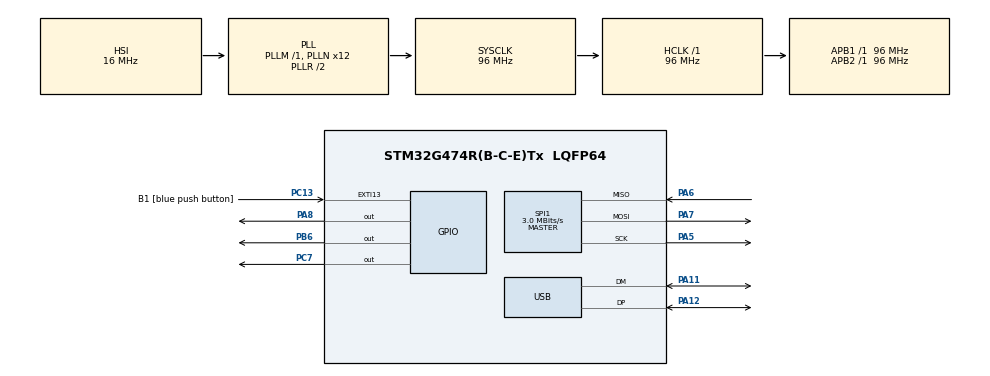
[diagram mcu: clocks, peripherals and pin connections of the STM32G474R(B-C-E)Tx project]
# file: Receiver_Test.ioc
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Mcu.Family=STM32G4
Mcu.Name=STM32G474R(B-C-E)Tx
Mcu.Package=LQFP64
NVIC.EXTI15_10_IRQn=true\:0\:0\:false\:false\:true\:true\:true\:true
NVIC.PriorityGroup=NVIC_PRIORITYGROUP_4
NVIC.TIM2_IRQn=true\:0\:0\:false\:false\:true\:true\:true\:true
NVIC.USB_LP_IRQn=true\:0\:0\:false\:false\:true\:false\:true\:true
PA11.Mode=Device
PA11.Signal=USB_DM
PA12.Mode=Device
PA12.Signal=USB_DP
PA13.GPIO_Label=T_SWDIO
PA13.Mode=Serial_Wire
PA13.Signal=SYS_JTMS-SWDIO
PA14.GPIO_Label=T_SWCLK
PA14.Mode=Serial_Wire
PA14.Signal=SYS_JTCK-SWCLK
PA2.GPIO_Label=LPUART1_TX [STLINKV3E_VCP_RX]
PA2.Signal=LPUART1_TX
PA3.GPIO_Label=LPUART1_RX [STLINKV3E_VCP_TX]
PA3.Signal=LPUART1_RX
PA5.Mode=Full_Duplex_Master
PA5.Signal=SPI1_SCK
PA6.Mode=Full_Duplex_Master
PA6.Signal=SPI1_MISO
PA7.Mode=Full_Duplex_Master
PA7.Signal=SPI1_MOSI
PA8.Signal=GPIO_Output
PB3.GPIO_Label=T_SWO
PB3.Signal=SYS_JTDO-SWO
PB6.Signal=GPIO_Output
PC13.GPIO_Label=B1 [blue push button]
PC13.Signal=GPXTI13
PC14-OSC32_IN.Mode=LSE-External-Oscillator
PC14-OSC32_IN.Signal=RCC_OSC32_IN
PC15-OSC32_OUT.Mode=LSE-External-Oscillator
PC15-OSC32_OUT.Signal=RCC_OSC32_OUT
PC7.Signal=GPIO_Output
PF0-OSC_IN.Mode=HSE-External-Oscillator
PF0-OSC_IN.Signal=RCC_OSC_IN
PF1-OSC_OUT.Mode=HSE-External-Oscillator
PF1-OSC_OUT.Signal=RCC_OSC_OUT
ProjectManager.HeapSize=0x200
ProjectManager.StackSize=0x400
ProjectManager.TargetToolchain=STM32CubeIDE
RCC.ADC12Freq_Value=96000000
RCC.ADC345Freq_Value=96000000
RCC.AHBFreq_Value=96000000
RCC.APB1Freq_Value=96000000
RCC.APB1TimFreq_Value=96000000
RCC.APB2Freq_Value=96000000
RCC.APB2TimFreq_Value=96000000
RCC.CortexFreq_Value=96000000
RCC.EXTERNAL_CLOCK_VALUE=12288000
RCC.HCLKFreq_Value=96000000
RCC.HSE_VALUE=24000000
RCC.HSI48_VALUE=48000000
RCC.HSI_VALUE=16000000
RCC.PLLN=12
RCC.PLLQ=RCC_PLLQ_DIV4
RCC.RTCClockSelection=RCC_RTCCLKSOURCE_LSE
RCC.SYSCLKFreq_VALUE=96000000
RCC.SYSCLKSource=RCC_SYSCLKSOURCE_PLLCLK
RCC.USBFreq_Value=48000000
RCC.VCOOutputFreq_Value=192000000
SPI1.BaudRatePrescaler=SPI_BAUDRATEPRESCALER_32
SPI1.CalculateBaudRate=3.0 MBits/s
SPI1.DataSize=SPI_DATASIZE_8BIT
SPI1.Direction=SPI_DIRECTION_2LINES
SPI1.Mode=SPI_MODE_MASTER
SPI1.VirtualType=VM_MASTER
TIM2.AutoReloadPreload=TIM_AUTORELOAD_PRELOAD_ENABLE
TIM2.PeriodNoDither=10000
TIM2.Prescaler=170
USB_DEVICE.CLASS_NAME_FS=CDC
USB_DEVICE.USBD_DEBUG_LEVEL=0
USB_DEVICE.USBD_LPM_ENABLED=0
USB_DEVICE.VirtualMode=Cdc
USB_DEVICE.VirtualModeFS=Cdc_FS
VP_SYS_VS_DBSignals.Mode=DisableDeadBatterySignals
VP_TIM2_VS_ClockSourceINT.Mode=Internal
VP_USB_DEVICE_VS_USB_DEVICE_CDC_FS.Mode=CDC_FS
board=NUCLEO-G474RE

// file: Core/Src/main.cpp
/* USER CODE BEGIN Header */
/**
  ******************************************************************************
  * @file           : main.c
  * @brief          : Main program body
  ******************************************************************************
  * @attention
  *
  * Copyright (c) 2022 STMicroelectronics.
  * All rights reserved.
  *
  * This software is licensed under terms that can be found in the LICENSE file
  * in the root directory of this software component.
  * If no LICENSE file comes with this software, it is provided AS-IS.
  *
  ******************************************************************************
  */
/* USER CODE END Header */
#include "main.h"
#include "usb_device.h"

/* USER CODE BEGIN Includes */
#include <stdio.h>
#include <stdlib.h>
#include <NRF24L01.h>
#include <cstdlib>
#include <Parsers.hpp>
#include <Lap_time_handling.hpp>
#include "usbd_cdc_if.h"
/* USER CODE END Includes */

SPI_HandleTypeDef hspi1;

TIM_HandleTypeDef htim2;

/* USER CODE BEGIN PV */

uint8_t RxAddress[] = {0xEE, 0xDD, 0xCC, 0xBB, 0xAA};
uint8_t RxData[64]{0};

char usb;
int flag = 0;
/* USER CODE END PV */

extern "C" void SystemClock_Config(void);
static void MX_GPIO_Init(void);
static void MX_SPI1_Init(void);
static void MX_TIM2_Init(void);

int main(void)
{

  /* MCU Configuration--------------------------------------------------------*/

  /* Reset of all peripherals, Initializes the Flash interface and the Systick. */
  HAL_Init();

  /* Configure the system clock */
  SystemClock_Config();

  /* Initialize all configured peripherals */
  MX_GPIO_Init();
  MX_SPI1_Init();
  MX_TIM2_Init();
  MX_USB_Device_Init();
  /* USER CODE BEGIN 2 */
  NRF24_Init();
  NRF24_RxMode(RxAddress, 10);
  HAL_Delay(1000);
	//HAL_TIM_Base_Start_IT(&htim2);

  /* USER CODE END 2 */

  /* Infinite loop */
	while(1)
	{

    /* USER CODE BEGIN 3 */
		if(isDataAvailable(2) == 1)
		{
			NRF24_Receive(RxData);
			HAL_GPIO_TogglePin(GPIOA, GPIO_PIN_8);
			Pass(RxData);
		}
	}

  /* USER CODE END 3 */
}

void SystemClock_Config(void)
{
  RCC_OscInitTypeDef RCC_OscInitStruct = {0};
  RCC_ClkInitTypeDef RCC_ClkInitStruct = {0};

  /** Configure the main internal regulator output voltage
  */
  HAL_PWREx_ControlVoltageScaling(PWR_REGULATOR_VOLTAGE_SCALE1);

  /** Initializes the RCC Oscillators according to the specified parameters
  * in the RCC_OscInitTypeDef structure.
  */
  RCC_OscInitStruct.OscillatorType = RCC_OSCILLATORTYPE_HSI;
  RCC_OscInitStruct.HSIState = RCC_HSI_ON;
  RCC_OscInitStruct.HSICalibrationValue = RCC_HSICALIBRATION_DEFAULT;
  RCC_OscInitStruct.PLL.PLLState = RCC_PLL_ON;
  RCC_OscInitStruct.PLL.PLLSource = RCC_PLLSOURCE_HSI;
  RCC_OscInitStruct.PLL.PLLM = RCC_PLLM_DIV1;
  RCC_OscInitStruct.PLL.PLLN = 12;
  RCC_OscInitStruct.PLL.PLLP = RCC_PLLP_DIV2;
  RCC_OscInitStruct.PLL.PLLQ = RCC_PLLQ_DIV4;
  RCC_OscInitStruct.PLL.PLLR = RCC_PLLR_DIV2;
  if (HAL_RCC_OscConfig(&RCC_OscInitStruct) != HAL_OK)
  {
    Error_Handler();
  }

  /** Initializes the CPU, AHB and APB buses clocks
  */
  RCC_ClkInitStruct.ClockType = RCC_CLOCKTYPE_HCLK|RCC_CLOCKTYPE_SYSCLK
                              |RCC_CLOCKTYPE_PCLK1|RCC_CLOCKTYPE_PCLK2;
  RCC_ClkInitStruct.SYSCLKSource = RCC_SYSCLKSOURCE_PLLCLK;
  RCC_ClkInitStruct.AHBCLKDivider = RCC_SYSCLK_DIV1;
  RCC_ClkInitStruct.APB1CLKDivider = RCC_HCLK_DIV1;
  RCC_ClkInitStruct.APB2CLKDivider = RCC_HCLK_DIV1;

  if (HAL_RCC_ClockConfig(&RCC_ClkInitStruct, FLASH_LATENCY_3) != HAL_OK)
  {
    Error_Handler();
  }
}

static void MX_SPI1_Init(void)
{

  /* SPI1 parameter configuration*/
  hspi1.Instance = SPI1;
  hspi1.Init.Mode = SPI_MODE_MASTER;
  hspi1.Init.Direction = SPI_DIRECTION_2LINES;
  hspi1.Init.DataSize = SPI_DATASIZE_8BIT;
  hspi1.Init.CLKPolarity = SPI_POLARITY_LOW;
  hspi1.Init.CLKPhase = SPI_PHASE_1EDGE;
  hspi1.Init.NSS = SPI_NSS_SOFT;
  hspi1.Init.BaudRatePrescaler = SPI_BAUDRATEPRESCALER_32;
  hspi1.Init.FirstBit = SPI_FIRSTBIT_MSB;
  hspi1.Init.TIMode = SPI_TIMODE_DISABLE;
  hspi1.Init.CRCCalculation = SPI_CRCCALCULATION_DISABLE;
  hspi1.Init.CRCPolynomial = 7;
  hspi1.Init.CRCLength = SPI_CRC_LENGTH_DATASIZE;
  hspi1.Init.NSSPMode = SPI_NSS_PULSE_ENABLE;
  if (HAL_SPI_Init(&hspi1) != HAL_OK)
  {
    Error_Handler();
  }

}

static void MX_TIM2_Init(void)
{

  TIM_ClockConfigTypeDef sClockSourceConfig = {0};
  TIM_MasterConfigTypeDef sMasterConfig = {0};

  htim2.Instance = TIM2;
  htim2.Init.Prescaler = 170;
  htim2.Init.CounterMode = TIM_COUNTERMODE_UP;
  htim2.Init.Period = 10000;
  htim2.Init.ClockDivision = TIM_CLOCKDIVISION_DIV1;
  htim2.Init.AutoReloadPreload = TIM_AUTORELOAD_PRELOAD_ENABLE;
  if (HAL_TIM_Base_Init(&htim2) != HAL_OK)
  {
    Error_Handler();
  }
  sClockSourceConfig.ClockSource = TIM_CLOCKSOURCE_INTERNAL;
  if (HAL_TIM_ConfigClockSource(&htim2, &sClockSourceConfig) != HAL_OK)
  {
    Error_Handler();
  }
  sMasterConfig.MasterOutputTrigger = TIM_TRGO_RESET;
  sMasterConfig.MasterSlaveMode = TIM_MASTERSLAVEMODE_DISABLE;
  if (HAL_TIMEx_MasterConfigSynchronization(&htim2, &sMasterConfig) != HAL_OK)
  {
    Error_Handler();
  }

}

static void MX_GPIO_Init(void)
{
  GPIO_InitTypeDef GPIO_InitStruct = {0};

  /* GPIO Ports Clock Enable */
  __HAL_RCC_GPIOC_CLK_ENABLE();
  __HAL_RCC_GPIOF_CLK_ENABLE();
  __HAL_RCC_GPIOA_CLK_ENABLE();
  __HAL_RCC_GPIOB_CLK_ENABLE();

  /*Configure GPIO pin Output Level */
  HAL_GPIO_WritePin(GPIOC, GPIO_PIN_7, GPIO_PIN_RESET);

  /*Configure GPIO pin Output Level */
  HAL_GPIO_WritePin(GPIOA, GPIO_PIN_8, GPIO_PIN_RESET);

  /*Configure GPIO pin Output Level */
  HAL_GPIO_WritePin(GPIOB, GPIO_PIN_6, GPIO_PIN_RESET);

  /*Configure GPIO pin : B1_Pin */
  GPIO_InitStruct.Pin = B1_Pin;
  GPIO_InitStruct.Mode = GPIO_MODE_IT_RISING;
  GPIO_InitStruct.Pull = GPIO_NOPULL;
  HAL_GPIO_Init(B1_GPIO_Port, &GPIO_InitStruct);

  /*Configure GPIO pins : LPUART1_TX_Pin LPUART1_RX_Pin */
  GPIO_InitStruct.Pin = LPUART1_TX_Pin|LPUART1_RX_Pin;
  GPIO_InitStruct.Mode = GPIO_MODE_AF_PP;
  GPIO_InitStruct.Pull = GPIO_NOPULL;
  GPIO_InitStruct.Speed = GPIO_SPEED_FREQ_LOW;
  GPIO_InitStruct.Alternate = GPIO_AF12_LPUART1;
  HAL_GPIO_Init(GPIOA, &GPIO_InitStruct);

  /*Configure GPIO pin : PC7 */
  GPIO_InitStruct.Pin = GPIO_PIN_7;
  GPIO_InitStruct.Mode = GPIO_MODE_OUTPUT_PP;
  GPIO_InitStruct.Pull = GPIO_NOPULL;
  GPIO_InitStruct.Speed = GPIO_SPEED_FREQ_LOW;
  HAL_GPIO_Init(GPIOC, &GPIO_InitStruct);

  /*Configure GPIO pin : PA8 */
  GPIO_InitStruct.Pin = GPIO_PIN_8;
  GPIO_InitStruct.Mode = GPIO_MODE_OUTPUT_PP;
  GPIO_InitStruct.Pull = GPIO_NOPULL;
  GPIO_InitStruct.Speed = GPIO_SPEED_FREQ_LOW;
  HAL_GPIO_Init(GPIOA, &GPIO_InitStruct);

  /*Configure GPIO pin : PB6 */
  GPIO_InitStruct.Pin = GPIO_PIN_6;
  GPIO_InitStruct.Mode = GPIO_MODE_OUTPUT_PP;
  GPIO_InitStruct.Pull = GPIO_NOPULL;
  GPIO_InitStruct.Speed = GPIO_SPEED_FREQ_LOW;
  HAL_GPIO_Init(GPIOB, &GPIO_InitStruct);

  /* EXTI interrupt init*/
  HAL_NVIC_SetPriority(EXTI15_10_IRQn, 0, 0);
  HAL_NVIC_EnableIRQ(EXTI15_10_IRQn);

}

void Error_Handler(void)
{
  /* USER CODE BEGIN Error_Handler_Debug */
	/* User can add his own implementation to report the HAL error return state */
	__disable_irq();
	while(1)
	{ }
  /* USER CODE END Error_Handler_Debug */
}
